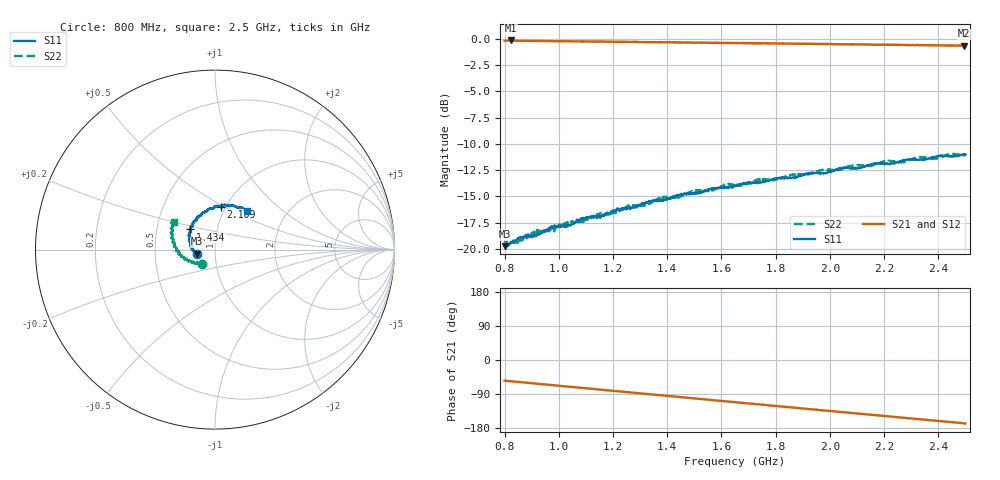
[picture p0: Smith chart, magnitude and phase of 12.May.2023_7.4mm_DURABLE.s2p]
!Keysight Technologies N9950B: A.12.38
!Date: Friday, 12 May 2023 13:40:21
!Timezone: (UTC-06:00) Central Time (US & Canada)
!Model: N9950B
!Serial: MY61131330
!GPS Latitude:
!GPS Longitude:
!GPS TimeStamp: 0001-01-01 00:00:00Z
!GPS Seconds Since Last Read: 0
!CHECKSUM:1743881258
!Correction: S11(ON U)S21(ON U)S12(ON U)S22(ON U)
!S2P File: Measurements:S11,S21,S12,S22:
# Hz S DB R 50
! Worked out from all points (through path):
!   1001 points, 800 MHz to 2.5 GHz, reference 50 ohm
!   highest |S21| = -0.17 dB at 822.1 MHz (marker M1); lowest = -0.7 dB at 2.495 GHz (marker M2)
!   group delay of S21, straight-line fit = 184 ps
!   lowest |S11| = -19.7 dB at 801.7 MHz (marker M3), VSWR 1.23, Z = 40.8 - j1.94 ohm
!   |S11| at or under -10 dB: start of sweep to end of sweep
!   |S22| runs from -19.5 to -10.9 dB; largest |S21 - S12| = 0.005
!   S11 on the Smith chart (normalised r, x): 800 MHz: 0.82, -0.04; 1.434 GHz: 0.74, +0.17; 2.109 GHz: 0.95, +0.48; 2.5 GHz: 1.28, +0.60
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8e8  -19.67 -166.9  -0.20 -54.5  -0.21 -54.5  -19.34 -133.2
8.017e8  -19.74 -166.8  -0.19 -54.6  -0.19 -54.6  -19.23 -133.3
8.221e8  -19.38 -167.0  -0.17 -55.9  -0.20 -56.0  -19.25 -133.7
8.578e8  -18.85 -169.2  -0.20 -58.3  -0.22 -58.3  -19.25 -137.8
9.156e8  -18.81 -177.0  -0.22 -62.3  -0.23 -62.3  -18.35 -139.2
9.768e8  -18.05 179.4  -0.24 -66.4  -0.25 -66.3  -18.17 -143.2
1.0397e9  -17.74 172.8  -0.24 -70.6  -0.27 -70.6  -17.41 -144.8
1.0839e9  -17.07 170.8  -0.28 -73.5  -0.29 -73.6  -17.33 -147.3
1.1587e9  -16.88 162.8  -0.28 -78.6  -0.27 -78.5  -16.69 -150.7
1.2267e9  -16.24 158.1  -0.32 -83.1  -0.30 -83.1  -16.37 -155.7
1.3678e9  -15.40 145.0  -0.34 -92.6  -0.35 -92.4  -15.16 -162.5
1.4341e9  -15.01 140.6  -0.35 -96.9  -0.38 -97.0  -15.14 -164.3
1.4987e9  -14.70 133.5  -0.38 -101.2  -0.37 -101.4  -14.50 -167.8
1.65e9  -13.99 121.5  -0.41 -111.3  -0.42 -111.3  -13.86 -173.4
1.7877e9  -13.41 109.3  -0.44 -120.4  -0.46 -120.4  -13.42 179.4
1.9339e9  -12.82 97.5  -0.49 -130.1  -0.51 -130.1  -12.84 171.2
2.109e9  -12.33 82.6  -0.55 -141.8  -0.57 -141.7  -12.04 164.3
2.2178e9  -11.92 73.4  -0.58 -148.9  -0.59 -148.8  -11.62 159.2
2.3878e9  -11.24 59.2  -0.64 -160.0  -0.64 -160.0  -11.42 151.0
2.449e9  -11.18 53.7  -0.66 -163.9  -0.65 -164.0  -10.96 148.4
2.4949e9  -11.04 50.6  -0.68 -167.2  -0.68 -167.0  -11.14 146.5
2.5e9  -11.01 50.0  -0.67 -167.5  -0.68 -167.4  -11.17 146.1
